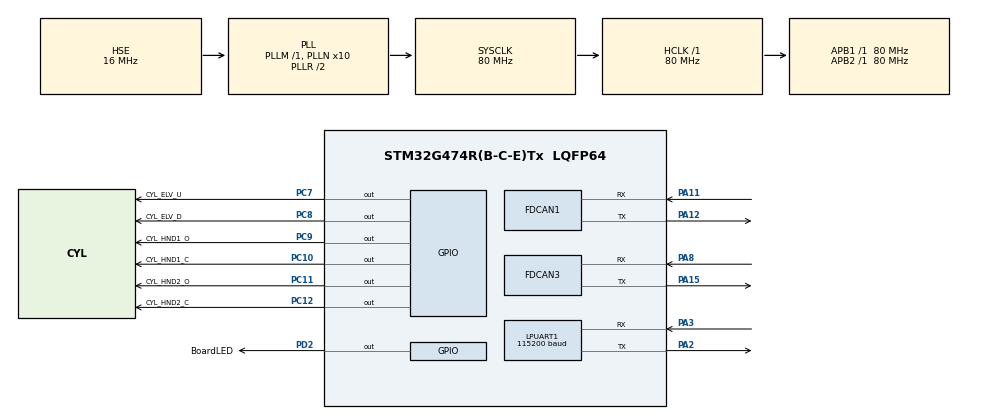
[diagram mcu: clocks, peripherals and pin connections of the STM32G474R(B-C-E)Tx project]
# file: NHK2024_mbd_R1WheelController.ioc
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FDCAN1.AutoRetransmission=DISABLE
FDCAN1.CalculateBaudRateNominal=1000000
FDCAN1.CalculateTimeBitNominal=1000
FDCAN1.CalculateTimeQuantumNominal=50.0
FDCAN1.DataPrescaler=2
FDCAN1.DataTimeSeg1=15
FDCAN1.DataTimeSeg2=4
FDCAN1.FrameFormat=FDCAN_FRAME_FD_BRS
FDCAN1.NominalPrescaler=4
FDCAN1.NominalTimeSeg1=15
FDCAN1.NominalTimeSeg2=4
FDCAN1.ProtocolException=ENABLE
FDCAN1.StdFiltersNbr=1
FDCAN3.CalculateBaudRateNominal=1000000
FDCAN3.CalculateTimeBitNominal=1000
FDCAN3.CalculateTimeQuantumNominal=50.0
FDCAN3.NominalPrescaler=4
FDCAN3.NominalTimeSeg1=15
FDCAN3.NominalTimeSeg2=4
FDCAN3.StdFiltersNbr=1
IWDG.Prescaler=IWDG_PRESCALER_32
IWDG.Reload=999
IWDG.Window=999
LPUART1.BaudRate=115200
Mcu.Family=STM32G4
Mcu.Name=STM32G474R(B-C-E)Tx
Mcu.Package=LQFP64
NVIC.FDCAN1_IT0_IRQn=true\:0\:0\:false\:false\:true\:true\:true\:true
NVIC.FDCAN3_IT0_IRQn=true\:0\:0\:false\:false\:true\:true\:true\:true
NVIC.FDCAN3_IT1_IRQn=true\:0\:0\:false\:false\:true\:true\:true\:true
NVIC.PriorityGroup=NVIC_PRIORITYGROUP_4
NVIC.TIM1_TRG_COM_TIM17_IRQn=true\:0\:0\:false\:false\:true\:true\:true\:true
PA11.Mode=FDCAN_Activate
PA11.Signal=FDCAN1_RX
PA12.Mode=FDCAN_Activate
PA12.Signal=FDCAN1_TX
PA13.Mode=Serial_Wire
PA13.Signal=SYS_JTMS-SWDIO
PA14.Mode=Serial_Wire
PA14.Signal=SYS_JTCK-SWCLK
PA15.Mode=FDCAN_Activate
PA15.Signal=FDCAN3_TX
PA2.Mode=Asynchronous
PA2.Signal=LPUART1_TX
PA3.Mode=Asynchronous
PA3.Signal=LPUART1_RX
PA8.Mode=FDCAN_Activate
PA8.Signal=FDCAN3_RX
PC10.GPIO_Label=CYL_HND1_C
PC10.Signal=GPIO_Output
PC11.GPIO_Label=CYL_HND2_O
PC11.Signal=GPIO_Output
PC12.GPIO_Label=CYL_HND2_C
PC12.Signal=GPIO_Output
PC7.GPIO_Label=CYL_ELV_U
PC7.Signal=GPIO_Output
PC8.GPIO_Label=CYL_ELV_D
PC8.Signal=GPIO_Output
PC9.GPIO_Label=CYL_HND1_O
PC9.Signal=GPIO_Output
PD2.GPIO_Label=BoardLED
PD2.Signal=GPIO_Output
PF0-OSC_IN.Mode=HSE-External-Oscillator
PF0-OSC_IN.Signal=RCC_OSC_IN
PF1-OSC_OUT.Mode=HSE-External-Oscillator
PF1-OSC_OUT.Signal=RCC_OSC_OUT
ProjectManager.HeapSize=0x200
ProjectManager.StackSize=0x400
ProjectManager.TargetToolchain=STM32CubeIDE
RCC.ADC12Freq_Value=80000000
RCC.ADC345Freq_Value=80000000
RCC.AHBFreq_Value=80000000
RCC.APB1Freq_Value=80000000
RCC.APB1TimFreq_Value=80000000
RCC.APB2Freq_Value=80000000
RCC.APB2TimFreq_Value=80000000
RCC.CortexFreq_Value=80000000
RCC.EXTERNAL_CLOCK_VALUE=12288000
RCC.HCLKFreq_Value=80000000
RCC.HSE_VALUE=16000000
RCC.HSI48_VALUE=48000000
RCC.HSI_VALUE=16000000
RCC.LSE_VALUE=32768
RCC.PLLN=10
RCC.PLLSourceVirtual=RCC_PLLSOURCE_HSE
RCC.SYSCLKFreq_VALUE=80000000
RCC.SYSCLKSource=RCC_SYSCLKSOURCE_PLLCLK
RCC.USBFreq_Value=80000000
RCC.VCOOutputFreq_Value=160000000
TIM17.PeriodNoDither=999
TIM17.Prescaler=79
VP_IWDG_VS_IWDG.Mode=IWDG_Activate
VP_SYS_VS_DBSignals.Mode=DisableDeadBatterySignals
VP_TIM17_VS_ClockSourceINT.Mode=Enable_Timer
board=custom

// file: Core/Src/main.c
/* USER CODE BEGIN Header */
/**
  ******************************************************************************
  * @file           : main.c
  * @brief          : Main program body
  ******************************************************************************
  * @attention
  *
  * Copyright (c) 2024 STMicroelectronics.
  * All rights reserved.
  *
  * This software is licensed under terms that can be found in the LICENSE file
  * in the root directory of this software component.
  * If no LICENSE file comes with this software, it is provided AS-IS.
  *
  ******************************************************************************
  */
/* USER CODE END Header */
#include "main.h"

/* USER CODE BEGIN Includes */
#include <stdio.h>
#include <math.h>

#include "DJI_CANIDList.h"
#include "R1CANIDList.h"

#include "pid.h"
#include "filter.h"
/* USER CODE END Includes */

/* USER CODE BEGIN PM */
#define PI 3.14159265

#define WHEEL_DIAMETER 152 //[mm]
#define WHEELBASE_LEN 505 //[mm]
#define TREAD_LEN 505 //[mm]

#define M3508_CURRENT_LIMIT 10000

#define CONTROL_CYCLE 1 //[ms]

#define CW -1
#define CCW 1
/* USER CODE END PM */

FDCAN_HandleTypeDef hfdcan1;
FDCAN_HandleTypeDef hfdcan3;

IWDG_HandleTypeDef hiwdg;

UART_HandleTypeDef hlpuart1;

TIM_HandleTypeDef htim17;

/* USER CODE BEGIN PV */
FDCAN_TxHeaderTypeDef fdcan3_TxHeader;
FDCAN_RxHeaderTypeDef fdcan3_RxHeader;
uint8_t 			  fdcan3_RxData[8];

FDCAN_TxHeaderTypeDef fdcan1_TxHeader;
FDCAN_RxHeaderTypeDef fdcan1_RxHeader;
uint8_t 			  fdcan1_RxData[8];

//The units of angle rate and angle are [rad/s] or [rad]
typedef struct{
	double actPos[3];
	double trgPos[3];
	double outPos[3];
	double actVel[3];
	double trgVel[3];
	double outVel[3];
	PID velPID[3];
} robotPosStatus;

typedef struct{
	uint16_t CANID;
	uint8_t motorID;
	int8_t rotDir;//rotation direction
	double trgVel;//target angle velocity [RPM]
	double actVel;//actual angle velocity [RPM]
	double outVel;//output
	double angle;//[rad]
	double reductionRatio; //@param reduction ratio (1:param)
	double actCurrent;//actual torque current
	PID velPID;
}motor;

typedef struct{
	double diameter;
	double trgVel;
	double actVel;
	double outVel;
	double friction;//friction coefficient
}wheel;

typedef struct{
	double treadLen;
	double wheelBaseLen;
	double mass;
	double inertia;
	wheel wheels[4];
}robotPhyParam;

Low_Pass_Filter_Settings* gLPFsettings;
robotPosStatus gRobotPos;
motor gMotors[4];
robotPhyParam gRobotPhy;

/* USER CODE END PV */

void SystemClock_Config(void);
static void MX_GPIO_Init(void);
static void MX_FDCAN1_Init(void);
static void MX_LPUART1_UART_Init(void);
static void MX_FDCAN3_Init(void);
static void MX_TIM17_Init(void);
static void MX_IWDG_Init(void);
/* USER CODE BEGIN PFP */
void RobotControllerInit(void);
void MotorControllerInit(void);
void RobotPosInit(void);
void RobotPhyParamInit(void);

//CAN communication functions.
void CAN_Motordrive(int32_t vel[]);

//Convert Functions
void ConvertWheel2Motor(wheel *wheels, motor *motors);
void InverseKinematics(robotPosStatus *robotPos, wheel wheel[], robotPhyParam *robotPhy);
void ForwardKinematics(robotPosStatus *robotPos, wheel wheel[], robotPhyParam *robotPhy);

//Feed Back Functions
void RobotVelFB(void);
/* USER CODE END PFP */

/* USER CODE BEGIN 0 */
void ConvertWheel2Motor(wheel *wheels, motor *motors){
	for(uint8_t i=0; i<4; i++){
		double M2W_Ratio =  motors[i].rotDir * PI * wheels[i].diameter / 60 / motors[i].reductionRatio;
		//Convert actual (angle) velocity
		wheels[i].actVel = motors[i].actVel * M2W_Ratio;

		//Convert target (angle) velocity
		motors[i].trgVel = wheels[i].trgVel / M2W_Ratio;
		motors[i].outVel = wheels[i].outVel / M2W_Ratio;
	}
}

void InverseKinematics(robotPosStatus *robotPos, wheel wheel[], robotPhyParam *robotPhy){
	//座標変換行�??
	const float wheelParam = (robotPhy->wheelBaseLen + robotPhy->treadLen) / 2;
	const float A[4][3] = {
			{-1,  1, wheelParam},
			{-1, -1, wheelParam},
			{ 1, -1, wheelParam},
			{ 1,  1, wheelParam}
	};

	for(uint8_t i=0; i<4; i++){
		wheel[i].trgVel = 0;
		for(uint8_t j=0; j<3; j++){
			wheel[i].trgVel += A[i][j] * robotPos->outVel[j];
		}
	}
}

void ForwardKinematics(robotPosStatus *robotPos, wheel wheel[], robotPhyParam *robotPhy){
	const float wheelParam = (robotPhy->wheelBaseLen + robotPhy->treadLen) / 1;
	const float gain = 0.25;
	const float A[3][4] = {
		{-1, -1, 1, 1},
		{1, -1, -1, 1},
		{1/wheelParam, 1/wheelParam, 1/wheelParam, 1/wheelParam}
	};

	for(uint8_t i=0; i<3; i++){
	robotPos->actVel[i] = 0;
		for(uint8_t j=0; j<4; j++){
			robotPos->actVel[i] += gain * A[i][j] * wheel[j].actVel;
		}
	}
}

//Call Back
void HAL_FDCAN_RxFifo0Callback(FDCAN_HandleTypeDef *hfdcan, uint32_t RxFifo0ITs) {
	if ((RxFifo0ITs & FDCAN_IT_RX_FIFO0_NEW_MESSAGE) != RESET) {
		if(hfdcan == &hfdcan1){
			if (HAL_FDCAN_GetRxMessage(hfdcan, FDCAN_RX_FIFO0, &fdcan1_RxHeader, fdcan1_RxData) != HAL_OK) {
				Error_Handler();
			}
//			printf("Recived\r\n");
//			printf("%d, %d, %d\r\n", fdcan1_RxData[0], fdcan1_RxData[1], fdcan1_RxData[2]);
			if(fdcan1_RxHeader.Identifier == CANID_ROBOT_VEL){
//			  printf("Recived\r\n");
				float gain[3] = {8, 8, 0.007};
				for(uint8_t i=0; i<3; i++){
					gRobotPos.trgVel[i] = (fdcan1_RxData[i] - 127)*gain[i];
				}
			}

			if(fdcan1_RxHeader.Identifier == CANID_CHECK_IS_ACTIVE) {
			    if (HAL_IWDG_Refresh(&hiwdg) != HAL_OK)
          {
            Error_Handler();
          }
			}
			//printf("RxData: %x\r\n", fdcan1_RxData[0]);
		}
	}
}

void HAL_FDCAN_RxFifo1Callback(FDCAN_HandleTypeDef *hfdcan, uint32_t RxFifo1ITs) {
//	printf("FIFO1 callback\r\n");
	if ((RxFifo1ITs & FDCAN_IT_RX_FIFO1_NEW_MESSAGE) != RESET) {
		if (hfdcan == &hfdcan3) {
			if (HAL_FDCAN_GetRxMessage(hfdcan, FDCAN_RX_FIFO1, &fdcan3_RxHeader, fdcan3_RxData) != HAL_OK) {
				Error_Handler();
			}

			uint8_t motorID = fdcan3_RxHeader.Identifier - DJI_CANID_TX0 - -1 - 6;
//			printf("%d\r\n", motorID);
			if(motorID<4){
				int16_t intbuff;
				//get actual angle velocity of motor from C610
				intbuff = fdcan3_RxData[2]<<8 | fdcan3_RxData[3];
				gMotors[motorID].actVel = (double)intbuff;
				//get actual torque current of motor
				intbuff = fdcan3_RxData[4]<<8 | fdcan3_RxData[5];
				gMotors[motorID].actCurrent = (double)intbuff;

			}
		}
	}
}

void HAL_TIM_PeriodElapsedCallback(TIM_HandleTypeDef *htim){
	if(htim == &htim17){
//	  printf("kfoerkofkreofe\r\n");
		int32_t output[4];

		ConvertWheel2Motor(gRobotPhy.wheels, gMotors);
		ForwardKinematics(&gRobotPos, gRobotPhy.wheels, &gRobotPhy);

		for(uint8_t i=0; i<3; i++){
			gRobotPos.velPID[i].setpoint = gRobotPos.trgVel[i];
			gRobotPos.outVel[i] = gRobotPos.trgVel[i] + pid_compute(&gRobotPos.velPID[i], gRobotPos.actVel[i]);
		}

		InverseKinematics(&gRobotPos, gRobotPhy.wheels, &gRobotPhy);
		ConvertWheel2Motor(gRobotPhy.wheels, gMotors);

		//motor PID
		for(uint8_t i=0; i<4; i++){
			gMotors[i].velPID.setpoint = gMotors[i].trgVel;
			output[i] = pid_compute(&gMotors[i].velPID, gMotors[i].actVel);
		}

//		printf("%f, %f, %f, %f", 0, &gMotors[i].velPID, gMotors[i].actVel, 254)

		//transmit to C610
//		printf("%f, %f, %f, %f\r\n", 0.0, (double)(gMotors[0].trgVel),(double)(gMotors[0].actVel), 300.0);
//		printf("%f, %f, %f, %f\r\n", gMotors[0].velPID.last_error, gMotors[1].velPID.last_error, gMotors[2].velPID.last_error, gMotors[3].velPID.last_error);
		CAN_Motordrive(output);
		RobotVelFB();
	}
}

void RobotVelFB(void){
	uint8_t fdcan1_TxData[3] = {};
	double gain[3] = {16, 16, 0.02};
	for(uint8_t i=0; i<3; i++){
		if(gRobotPos.actVel[i]/16 + 127 > 255){
			fdcan1_TxData[i] = 255;
			continue;
		}
		else if(gRobotPos.actVel[i]/16 + 127 < 0){
			fdcan1_TxData[i] = 0;
			continue;
		}
		int8_t buffer = gRobotPos.actVel[i]/gain[i] + 127;
		fdcan1_TxData[i] |= buffer;
	}
	fdcan1_TxHeader.DataLength = FDCAN_DLC_BYTES_3;
	fdcan1_TxHeader.Identifier = CANID_ROBOT_VEL_FB;

	if(HAL_FDCAN_AddMessageToTxFifoQ(&hfdcan1, &fdcan1_TxHeader, fdcan1_TxData) != HAL_OK){
		Error_Handler();
	}
}
/* USER CODE END 0 */

int main(void)
{

  /* MCU Configuration--------------------------------------------------------*/

  /* Reset of all peripherals, Initializes the Flash interface and the Systick. */
  HAL_Init();

  /* Configure the system clock */
  SystemClock_Config();

  /* Initialize all configured peripherals */
  MX_GPIO_Init();
  MX_FDCAN1_Init();
  MX_LPUART1_UART_Init();
  MX_FDCAN3_Init();
  MX_TIM17_Init();
  MX_IWDG_Init();
  /* USER CODE BEGIN 2 */
  RobotControllerInit();
  MotorControllerInit();
  RobotPhyParamInit();
  printf("Initialized\r\n");
  HAL_TIM_Base_Start_IT(&htim17);

  /* USER CODE END 2 */

  /* Infinite loop */
  while (1)
  {

  }
}

void SystemClock_Config(void)
{
  RCC_OscInitTypeDef RCC_OscInitStruct = {0};
  RCC_ClkInitTypeDef RCC_ClkInitStruct = {0};

  /** Configure the main internal regulator output voltage
  */
  HAL_PWREx_ControlVoltageScaling(PWR_REGULATOR_VOLTAGE_SCALE1);

  /** Initializes the RCC Oscillators according to the specified parameters
  * in the RCC_OscInitTypeDef structure.
  */
  RCC_OscInitStruct.OscillatorType = RCC_OSCILLATORTYPE_LSI|RCC_OSCILLATORTYPE_HSE;
  RCC_OscInitStruct.HSEState = RCC_HSE_ON;
  RCC_OscInitStruct.LSIState = RCC_LSI_ON;
  RCC_OscInitStruct.PLL.PLLState = RCC_PLL_ON;
  RCC_OscInitStruct.PLL.PLLSource = RCC_PLLSOURCE_HSE;
  RCC_OscInitStruct.PLL.PLLM = RCC_PLLM_DIV1;
  RCC_OscInitStruct.PLL.PLLN = 10;
  RCC_OscInitStruct.PLL.PLLP = RCC_PLLP_DIV2;
  RCC_OscInitStruct.PLL.PLLQ = RCC_PLLQ_DIV2;
  RCC_OscInitStruct.PLL.PLLR = RCC_PLLR_DIV2;
  if (HAL_RCC_OscConfig(&RCC_OscInitStruct) != HAL_OK)
  {
    Error_Handler();
  }

  /** Initializes the CPU, AHB and APB buses clocks
  */
  RCC_ClkInitStruct.ClockType = RCC_CLOCKTYPE_HCLK|RCC_CLOCKTYPE_SYSCLK
                              |RCC_CLOCKTYPE_PCLK1|RCC_CLOCKTYPE_PCLK2;
  RCC_ClkInitStruct.SYSCLKSource = RCC_SYSCLKSOURCE_PLLCLK;
  RCC_ClkInitStruct.AHBCLKDivider = RCC_SYSCLK_DIV1;
  RCC_ClkInitStruct.APB1CLKDivider = RCC_HCLK_DIV1;
  RCC_ClkInitStruct.APB2CLKDivider = RCC_HCLK_DIV1;

  if (HAL_RCC_ClockConfig(&RCC_ClkInitStruct, FLASH_LATENCY_2) != HAL_OK)
  {
    Error_Handler();
  }
}

static void MX_FDCAN1_Init(void)
{

  hfdcan1.Instance = FDCAN1;
  hfdcan1.Init.ClockDivider = FDCAN_CLOCK_DIV1;
  hfdcan1.Init.FrameFormat = FDCAN_FRAME_FD_BRS;
  hfdcan1.Init.Mode = FDCAN_MODE_NORMAL;
  hfdcan1.Init.AutoRetransmission = DISABLE;
  hfdcan1.Init.TransmitPause = DISABLE;
  hfdcan1.Init.ProtocolException = ENABLE;
  hfdcan1.Init.NominalPrescaler = 4;
  hfdcan1.Init.NominalSyncJumpWidth = 1;
  hfdcan1.Init.NominalTimeSeg1 = 15;
  hfdcan1.Init.NominalTimeSeg2 = 4;
  hfdcan1.Init.DataPrescaler = 2;
  hfdcan1.Init.DataSyncJumpWidth = 1;
  hfdcan1.Init.DataTimeSeg1 = 15;
  hfdcan1.Init.DataTimeSeg2 = 4;
  hfdcan1.Init.StdFiltersNbr = 1;
  hfdcan1.Init.ExtFiltersNbr = 0;
  hfdcan1.Init.TxFifoQueueMode = FDCAN_TX_FIFO_OPERATION;
  if (HAL_FDCAN_Init(&hfdcan1) != HAL_OK)
  {
    Error_Handler();
  }
  /* USER CODE BEGIN FDCAN1_Init 2 */
  FDCAN_FilterTypeDef sFilterConfig;
  	sFilterConfig.IdType = FDCAN_STANDARD_ID;
  	sFilterConfig.FilterIndex = 0;
  	sFilterConfig.FilterType = FDCAN_FILTER_RANGE;
  	sFilterConfig.FilterConfig = FDCAN_FILTER_TO_RXFIFO0;
  	sFilterConfig.FilterID1 = 0x000;
  	sFilterConfig.FilterID2 = 0x7ff;

  	if (HAL_FDCAN_ConfigFilter(&hfdcan1, &sFilterConfig) != HAL_OK) {
  		Error_Handler();
  	}
  	if (HAL_FDCAN_ConfigGlobalFilter(&hfdcan1, FDCAN_REJECT, FDCAN_REJECT, FDCAN_FILTER_REMOTE, FDCAN_FILTER_REMOTE) != HAL_OK) {
  		Error_Handler();
  	}

  	if (HAL_FDCAN_Start(&hfdcan1) != HAL_OK) {
  		Error_Handler();
  	}

  	if (HAL_FDCAN_ActivateNotification(&hfdcan1, FDCAN_IT_RX_FIFO0_NEW_MESSAGE, 0) != HAL_OK) {
  		Error_Handler();
  	}

  	fdcan1_TxHeader.IdType = FDCAN_STANDARD_ID;
  	fdcan1_TxHeader.TxFrameType = FDCAN_DATA_FRAME;
  	fdcan1_TxHeader.DataLength = FDCAN_DLC_BYTES_3;
  	fdcan1_TxHeader.ErrorStateIndicator = FDCAN_ESI_ACTIVE;
  	fdcan1_TxHeader.BitRateSwitch = FDCAN_BRS_ON;
  	fdcan1_TxHeader.FDFormat = FDCAN_FD_CAN;
  	fdcan1_TxHeader.TxEventFifoControl = FDCAN_NO_TX_EVENTS;
  	fdcan1_TxHeader.MessageMarker = 0;
  	fdcan1_TxHeader.Identifier = 0x700;

  /* USER CODE END FDCAN1_Init 2 */

}

static void MX_FDCAN3_Init(void)
{

  hfdcan3.Instance = FDCAN3;
  hfdcan3.Init.ClockDivider = FDCAN_CLOCK_DIV1;
  hfdcan3.Init.FrameFormat = FDCAN_FRAME_CLASSIC;
  hfdcan3.Init.Mode = FDCAN_MODE_NORMAL;
  hfdcan3.Init.AutoRetransmission = DISABLE;
  hfdcan3.Init.TransmitPause = DISABLE;
  hfdcan3.Init.ProtocolException = DISABLE;
  hfdcan3.Init.NominalPrescaler = 4;
  hfdcan3.Init.NominalSyncJumpWidth = 1;
  hfdcan3.Init.NominalTimeSeg1 = 15;
  hfdcan3.Init.NominalTimeSeg2 = 4;
  hfdcan3.Init.DataPrescaler = 1;
  hfdcan3.Init.DataSyncJumpWidth = 1;
  hfdcan3.Init.DataTimeSeg1 = 1;
  hfdcan3.Init.DataTimeSeg2 = 1;
  hfdcan3.Init.StdFiltersNbr = 1;
  hfdcan3.Init.ExtFiltersNbr = 0;
  hfdcan3.Init.TxFifoQueueMode = FDCAN_TX_FIFO_OPERATION;
  if (HAL_FDCAN_Init(&hfdcan3) != HAL_OK)
  {
    Error_Handler();
  }
  /* USER CODE BEGIN FDCAN3_Init 2 */
  FDCAN_FilterTypeDef sFilterConfig;
  	sFilterConfig.IdType = FDCAN_STANDARD_ID;
  	sFilterConfig.FilterIndex = 0;
  	sFilterConfig.FilterType = FDCAN_FILTER_RANGE;
  	sFilterConfig.FilterConfig = FDCAN_FILTER_TO_RXFIFO1;
  	sFilterConfig.FilterID1 = DJI_CANID_0;
  	sFilterConfig.FilterID2 = DJI_CANID_7;

  	if (HAL_FDCAN_ConfigFilter(&hfdcan3, &sFilterConfig) != HAL_OK) {
  		Error_Handler();
  	}
  	if (HAL_FDCAN_ConfigGlobalFilter(&hfdcan3, FDCAN_REJECT, FDCAN_REJECT, FDCAN_FILTER_REMOTE, FDCAN_FILTER_REMOTE) != HAL_OK) {
  		Error_Handler();
  	}

  	if (HAL_FDCAN_Start(&hfdcan3) != HAL_OK) {
  		Error_Handler();
  	}

  	if (HAL_FDCAN_ActivateNotification(&hfdcan3, FDCAN_IT_RX_FIFO1_NEW_MESSAGE, 0) != HAL_OK) {
  		Error_Handler();
  	}

  /* USER CODE END FDCAN3_Init 2 */

}

static void MX_IWDG_Init(void)
{

  hiwdg.Instance = IWDG;
  hiwdg.Init.Prescaler = IWDG_PRESCALER_32;
  hiwdg.Init.Window = 999;
  hiwdg.Init.Reload = 999;
  if (HAL_IWDG_Init(&hiwdg) != HAL_OK)
  {
    Error_Handler();
  }

}

static void MX_LPUART1_UART_Init(void)
{

  hlpuart1.Instance = LPUART1;
  hlpuart1.Init.BaudRate = 115200;
  hlpuart1.Init.WordLength = UART_WORDLENGTH_8B;
  hlpuart1.Init.StopBits = UART_STOPBITS_1;
  hlpuart1.Init.Parity = UART_PARITY_NONE;
  hlpuart1.Init.Mode = UART_MODE_TX_RX;
  hlpuart1.Init.HwFlowCtl = UART_HWCONTROL_NONE;
  hlpuart1.Init.OneBitSampling = UART_ONE_BIT_SAMPLE_DISABLE;
  hlpuart1.Init.ClockPrescaler = UART_PRESCALER_DIV1;
  hlpuart1.AdvancedInit.AdvFeatureInit = UART_ADVFEATURE_NO_INIT;
  if (HAL_UART_Init(&hlpuart1) != HAL_OK)
  {
    Error_Handler();
  }
  if (HAL_UARTEx_SetTxFifoThreshold(&hlpuart1, UART_TXFIFO_THRESHOLD_1_8) != HAL_OK)
  {
    Error_Handler();
  }
  if (HAL_UARTEx_SetRxFifoThreshold(&hlpuart1, UART_RXFIFO_THRESHOLD_1_8) != HAL_OK)
  {
    Error_Handler();
  }
  if (HAL_UARTEx_DisableFifoMode(&hlpuart1) != HAL_OK)
  {
    Error_Handler();
  }

}

static void MX_TIM17_Init(void)
{

  htim17.Instance = TIM17;
  htim17.Init.Prescaler = 79;
  htim17.Init.CounterMode = TIM_COUNTERMODE_UP;
  htim17.Init.Period = 999;
  htim17.Init.ClockDivision = TIM_CLOCKDIVISION_DIV1;
  htim17.Init.RepetitionCounter = 0;
  htim17.Init.AutoReloadPreload = TIM_AUTORELOAD_PRELOAD_DISABLE;
  if (HAL_TIM_Base_Init(&htim17) != HAL_OK)
  {
    Error_Handler();
  }

}

static void MX_GPIO_Init(void)
{
  GPIO_InitTypeDef GPIO_InitStruct = {0};

  /* GPIO Ports Clock Enable */
  __HAL_RCC_GPIOF_CLK_ENABLE();
  __HAL_RCC_GPIOA_CLK_ENABLE();
  __HAL_RCC_GPIOC_CLK_ENABLE();
  __HAL_RCC_GPIOD_CLK_ENABLE();

  /*Configure GPIO pin Output Level */
  HAL_GPIO_WritePin(GPIOC, CYL_ELV_U_Pin|CYL_ELV_D_Pin|CYL_HND1_O_Pin|CYL_HND1_C_Pin
                          |CYL_HND2_O_Pin|CYL_HND2_C_Pin, GPIO_PIN_RESET);

  /*Configure GPIO pin Output Level */
  HAL_GPIO_WritePin(BoardLED_GPIO_Port, BoardLED_Pin, GPIO_PIN_RESET);

  /*Configure GPIO pins : CYL_ELV_U_Pin CYL_ELV_D_Pin CYL_HND1_O_Pin CYL_HND1_C_Pin
                           CYL_HND2_O_Pin CYL_HND2_C_Pin */
  GPIO_InitStruct.Pin = CYL_ELV_U_Pin|CYL_ELV_D_Pin|CYL_HND1_O_Pin|CYL_HND1_C_Pin
                          |CYL_HND2_O_Pin|CYL_HND2_C_Pin;
  GPIO_InitStruct.Mode = GPIO_MODE_OUTPUT_PP;
  GPIO_InitStruct.Pull = GPIO_NOPULL;
  GPIO_InitStruct.Speed = GPIO_SPEED_FREQ_LOW;
  HAL_GPIO_Init(GPIOC, &GPIO_InitStruct);

  /*Configure GPIO pin : BoardLED_Pin */
  GPIO_InitStruct.Pin = BoardLED_Pin;
  GPIO_InitStruct.Mode = GPIO_MODE_OUTPUT_PP;
  GPIO_InitStruct.Pull = GPIO_NOPULL;
  GPIO_InitStruct.Speed = GPIO_SPEED_FREQ_LOW;
  HAL_GPIO_Init(BoardLED_GPIO_Port, &GPIO_InitStruct);

}

/* USER CODE BEGIN 4 */
void CAN_Motordrive(int32_t vel[])
{
	int i;
	uint8_t TxData[8];
	for(i=0; i<4; i++){

		if(vel[i]<-1*M3508_CURRENT_LIMIT)vel[i]=-1*M3508_CURRENT_LIMIT;
		else if(vel[i]>M3508_CURRENT_LIMIT)vel[i]=M3508_CURRENT_LIMIT;
		TxData[i*2]=vel[i]>>8;//上位ビ
		TxData[i*2+1]=vel[i]&0x00FF;//下位ビ
	}

	fdcan3_TxHeader.IdType = FDCAN_STANDARD_ID;
	fdcan3_TxHeader.TxFrameType = FDCAN_DATA_FRAME;
	fdcan3_TxHeader.DataLength = FDCAN_DLC_BYTES_8;
	fdcan3_TxHeader.ErrorStateIndicator = FDCAN_ESI_ACTIVE;
	fdcan3_TxHeader.BitRateSwitch = FDCAN_BRS_OFF;
	fdcan3_TxHeader.FDFormat = FDCAN_CLASSIC_CAN;
	fdcan3_TxHeader.TxEventFifoControl = FDCAN_NO_TX_EVENTS;
	fdcan3_TxHeader.MessageMarker = 0;
	fdcan3_TxHeader.Identifier = DJI_CANID_TX1;

	if (HAL_FDCAN_AddMessageToTxFifoQ(&hfdcan3, &fdcan3_TxHeader, TxData) != HAL_OK) {
		/* Transmission request Error */
//	  printf("HAL_FDCAN_AddMessageToTxFifoQ\r\n");
//	  printf("error code is %d\r\n", hfdcan3.ErrorCode);
		Error_Handler();
	}
}

int _write(int file, char *ptr, int len)
{
    HAL_UART_Transmit(&hlpuart1,(uint8_t *)ptr,len,10);
    return len;
}

void RobotControllerInit(void){
	double velKp[3] = {0.3, 0.3, 1.6};
	double velKi[3] = {0, 0, 0};
	double velKd[3] = {0, 0, 0};
	double velIntegral_min[3] = {-5, -5, -3};
	double velIntegral_max[3] = {5, 5, 	3};

	for(uint8_t i=0; i<3; i++){
		gRobotPos.actPos[i] = 0;
		gRobotPos.actVel[i] = 0;
		gRobotPos.trgPos[i] = 0;
		gRobotPos.trgVel[i] = 0;
		gRobotPos.outPos[i] = 0;
		gRobotPos.outVel[i] = 0;

		pid_init(&gRobotPos.velPID[i], CONTROL_CYCLE, velKp[i], velKd[i], velKi[i], 0, velIntegral_min[i], velIntegral_max[i]);
	}
}

void MotorControllerInit(void){
	double kp[4] = {5, 5, 5, 5};
	double ki[4] = {0, 0, 0, 0};
	double kd[4] = {0.1, 0.1, 0.1,0.1};
	double integral_min[4] = {-30, -30, -30, -30};
	double integral_max[4] = {30, 30, 30, 30};

	for(uint8_t i=0; i<4; i++){
		gMotors[i].rotDir = CW;
		gMotors[i].CANID = DJI_CANID_0;
		gMotors[i].trgVel = 0;
		gMotors[i].actVel = 0;
		gMotors[i].outVel = 0;
		gMotors[i].angle = 0;
		gMotors[i].motorID = 0;
		gMotors[i].reductionRatio = 19;
		pid_init(&gMotors[i].velPID, CONTROL_CYCLE, kp[i], kd[i], ki[i], 0, integral_min[i], integral_max[i]);
	}

	gLPFsettings = low_pass_filter_init(0.001, 1e3);
}

void RobotPhyParamInit(void){
	double frictions[4] = {1, 1, 1, 1};

	gRobotPhy.inertia = 1;
	gRobotPhy.mass = 1;
	gRobotPhy.treadLen = TREAD_LEN;
	gRobotPhy.wheelBaseLen = WHEELBASE_LEN;

	for(uint8_t i=0; i<4; i++){
		gRobotPhy.wheels[i].actVel = 0;
		gRobotPhy.wheels[i].friction = frictions[i];
		gRobotPhy.wheels[i].outVel = 0;
		gRobotPhy.wheels[i].trgVel = 0;
		gRobotPhy.wheels[i].diameter = WHEEL_DIAMETER;
	}
}

/* USER CODE END 4 */

void Error_Handler(void)
{
  /* USER CODE BEGIN Error_Handler_Debug */
  /* User can add his own implementation to report the HAL error return state */
  HAL_GPIO_WritePin(BoardLED_GPIO_Port, BoardLED_Pin, GPIO_PIN_SET);
  __disable_irq();
  while (1)
  {
//      printf("error handler");
  }
  /* USER CODE END Error_Handler_Debug */
}
